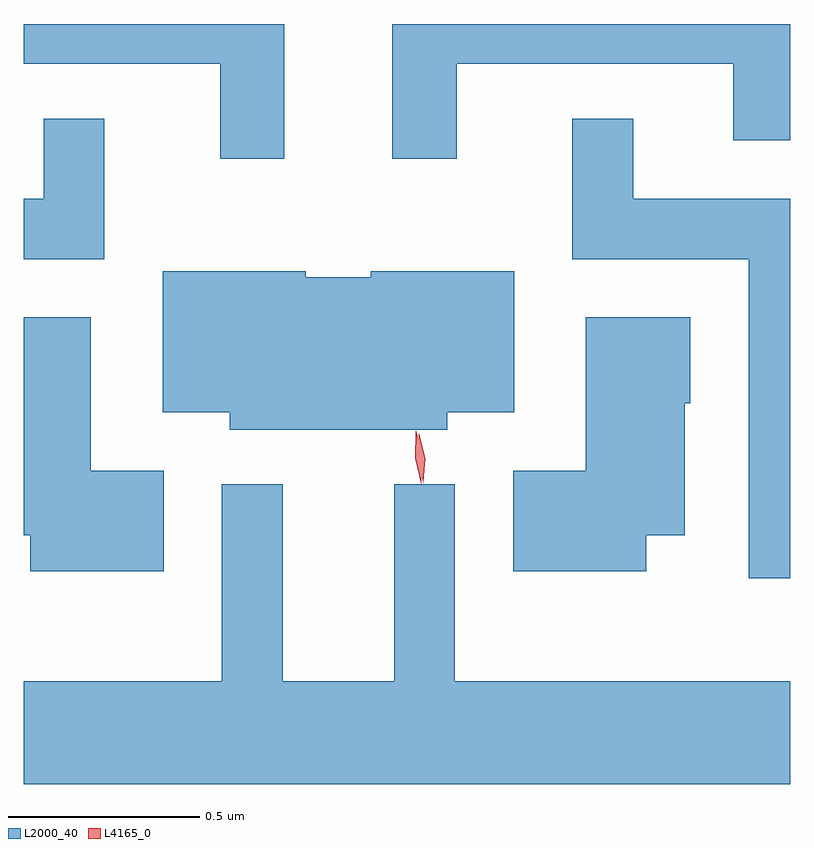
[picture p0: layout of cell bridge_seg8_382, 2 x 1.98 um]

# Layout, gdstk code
import gdstk
lib = gdstk.Library(unit=1e-6, precision=1e-09)
def P(c, l, *ps):  # polygons
    for p in ps: c.add(gdstk.Polygon(p, *l))
L2000_40 = (2000, 40)
L4165_0 = (4165, 0)

bridge_seg8_382 = lib.new_cell('bridge_seg8_382')
P(bridge_seg8_382, L2000_40, [(713.169,1887.136),(713.891,1887.136),(713.891,1886.936),(714.039,1886.936),(714.039,1887.24),(713.001,1887.24),(713.001,1886.888),(713.169,1886.888)],
  [(712.719,1887.24),(712.039,1887.24),(712.039,1887.136),(712.551,1887.136),(712.551,1886.888),(712.719,1886.888)],
  [(712.249,1886.993),(712.091,1886.993),(712.091,1886.784),(712.039,1886.784),(712.039,1886.626),(712.249,1886.626)],
  [(714.039,1886.784),(713.629,1886.784),(713.629,1886.993),(713.471,1886.993),(713.471,1886.626),(713.931,1886.626),(713.931,1885.793),(714.039,1885.793)],
  [(713.144,1886.226),(713.319,1886.226),(713.319,1886.594),(712.945,1886.594),(712.945,1886.579),(712.775,1886.579),(712.775,1886.594),(712.401,1886.594),(712.401,1886.226),(712.576,1886.226),(712.576,1886.181),(713.144,1886.181)],
  [(713.664,1885.906),(713.764,1885.906),(713.764,1886.25),(713.779,1886.25),(713.779,1886.474),(713.506,1886.474),(713.506,1886.074),(713.316,1886.074),(713.316,1885.811),(713.664,1885.811)],
  [(712.404,1886.074),(712.214,1886.074),(712.214,1886.474),(712.039,1886.474),(712.039,1885.906),(712.056,1885.906),(712.056,1885.811),(712.404,1885.811)],
  [(714.039,1885.524),(713.164,1885.524),(713.164,1886.038),(713.006,1886.038),(713.006,1885.524),(712.714,1885.524),(712.714,1886.038),(712.556,1886.038),(712.556,1885.524),(712.039,1885.524),(712.039,1885.256),(714.039,1885.256)])
P(bridge_seg8_382, L4165_0, [(713.081,1886.043),(713.081,1886.044),(713.066,1886.106),(713.07,1886.169),(713.071,1886.17),(713.071,1886.169),(713.086,1886.107),(713.082,1886.044)],
  [(713.076,1886.039),(713.076,1886.04),(713.06,1886.107),(713.062,1886.177),(713.063,1886.177),(713.063,1886.177),(713.079,1886.109),(713.076,1886.04)])

lib.write_gds('bridge_seg8_382.gds')
